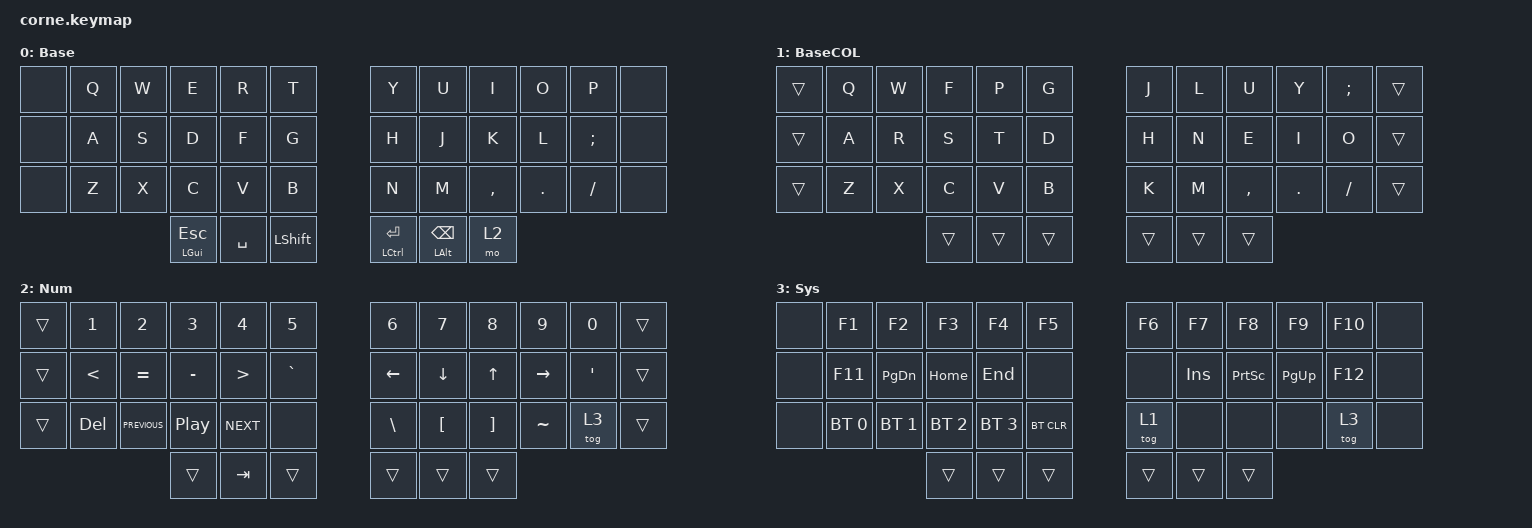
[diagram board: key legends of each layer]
/*
 * Copyright (c) 2020 The ZMK Contributors
 *
 * SPDX-License-Identifier: MIT
 */

#include <behaviors.dtsi>
#include <dt-bindings/zmk/bt.h>
#include <dt-bindings/zmk/keys.h>

#define L_LOWER   1
#define L_UPPER   2
#define L_MOD     3

&mt { flavor = "tap-preferred"; };

/ {
    keymap {
        compatible = "zmk,keymap";

        default_layer {
            // -----------------------------------------------------------------------------------------
            // |      |  Q  |  W  |  E  |  R  |  T  |   |  Y  |  U   |  I   |  O  |  P  |     |
            // |      |  A  |  S  |  D  |  F  |  G  |   |  H  |  J   |  K   |  L  |  ;  |     |
            // |      |  Z  |  X  |  C  |  V  |  B  |   |  N  |  M   |  ,   |  .  |  /  |     |
            //
            //                    | MOD | LWR | SPC |   | ENT | RSE  | BKSP |

            bindings = <
&none  &kp Q  &kp W  &kp E            &kp R      &kp T             &kp Y            &kp U               &kp I      &kp O    &kp P     &none
&none  &kp A  &kp S  &kp D            &kp F      &kp G             &kp H            &kp J               &kp K      &kp L    &kp SEMI  &none
&none  &kp Z  &kp X  &kp C            &kp V      &kp B             &kp N            &kp M               &kp COMMA  &kp DOT  &kp FSLH  &none
                     &mt LGUI ESCAPE  &kp SPACE  &kp LEFT_SHIFT    &mt LCTRL ENTER  &mt LALT BACKSPACE  &mo 2
            >;

            label = "Base";
        };

        colemak {
            bindings = <
&trans  &kp Q  &kp W  &kp F   &kp P   &kp G     &kp J   &kp L   &kp U      &kp Y    &kp SEMI  &trans
&trans  &kp A  &kp R  &kp S   &kp T   &kp D     &kp H   &kp N   &kp E      &kp I    &kp O     &trans
&trans  &kp Z  &kp X  &kp C   &kp V   &kp B     &kp K   &kp M   &kp COMMA  &kp DOT  &kp FSLH  &trans
                      &trans  &trans  &trans    &trans  &trans  &trans
            >;

            label = "BaseCOL";
        };

        symbol_layer {
            // -----------------------------------------------------------------------------------------
            // |      |  1  |  2  |  3  |  4  |  5  |   |  6  |  7  |  8   |  9  |  0  |      |
            // |      |     |     |     |     |     |   | LFT | DWN |  UP  | RGT | DEL |      |
            // |      | BT1 | BT2 | BT3 | BT4 | CLR |   |     |     |      |     | ESC |      |
            //
            //                    |     |     |     |   |     |     |      |

            bindings = <
&trans  &kp N1         &kp N2          &kp N3            &kp N4            &kp N5       &kp N6         &kp N7            &kp N8             &kp N9     &kp N0          &trans
&trans  &kp LESS_THAN  &kp EQUAL       &kp MINUS         &kp GREATER_THAN  &kp GRAVE    &kp LEFT       &kp DOWN          &kp UP             &kp RIGHT  &kp APOSTROPHE  &trans
&trans  &kp DELETE     &kp C_PREVIOUS  &kp C_PLAY_PAUSE  &kp C_NEXT        &none        &kp BACKSLASH  &kp LEFT_BRACKET  &kp RIGHT_BRACKET  &kp TILDE  &tog 3          &trans
                                       &trans            &kp TAB           &trans       &trans         &trans            &trans
            >;

            label = "Num";
        };

        system_layer {
            bindings = <
&none  &kp F1        &kp F2         &kp F3        &kp F4        &kp F5        &kp F6  &kp F7      &kp F8           &kp F9       &kp F10  &none
&none  &kp F11       &kp PAGE_DOWN  &kp HOME      &kp END       &none         &none   &kp INSERT  &kp PRINTSCREEN  &kp PAGE_UP  &kp F12  &none
&none  &bt BT_SEL 0  &bt BT_SEL 1   &bt BT_SEL 2  &bt BT_SEL 3  &bt BT_CLR    &tog 1  &none       &none            &none        &tog 3   &none
                                    &trans        &trans        &trans        &trans  &trans      &trans
            >;

            label = "Sys";
        };
    };
};
